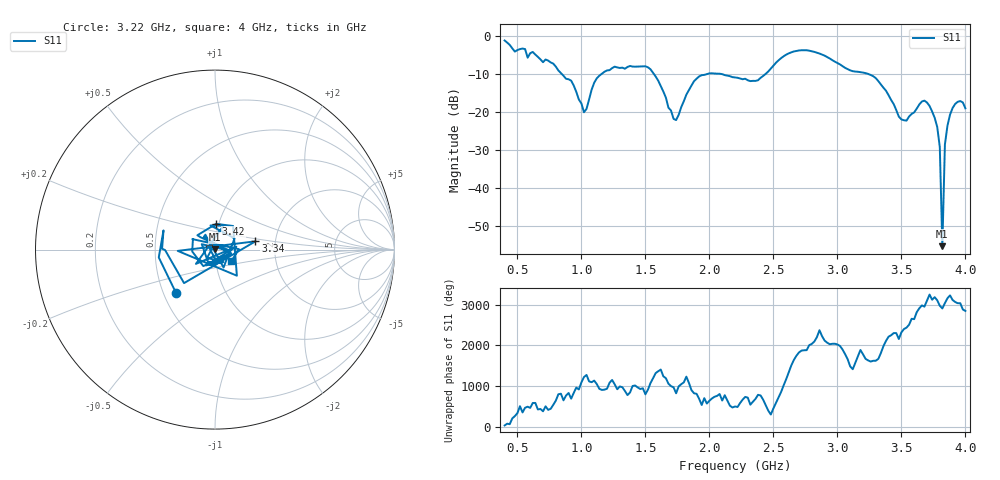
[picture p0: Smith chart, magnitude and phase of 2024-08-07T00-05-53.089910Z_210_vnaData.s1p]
!Created with skrf (http://scikit-rf.org).
# Hz S RI R 50.0
!freq ReS11 ImS11
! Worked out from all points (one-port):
!   181 points, 400 MHz to 4 GHz, reference 50 ohm
!   lowest |S11| = -55.3 dB at 3.82 GHz (marker M1), VSWR 1.00, Z = 50.2 + j0.0761 ohm
!   |S11| at or under -10 dB: 1.566 GHz to 1.987 GHz (420.7 MHz wide, 23.7 % of centre); 2.09 GHz to 2.439 GHz (349.6 MHz wide, 15.4 % of centre); 3.24 GHz to end of sweep (the widest 3 of 4)
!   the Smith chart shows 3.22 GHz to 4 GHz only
!   S11 on the Smith chart (normalised r, x): 3.22 GHz: 0.58, -0.31; 3.34 GHz: 1.57, +0.15; 3.42 GHz: 0.97, +0.28; 4 GHz: 1.19, -0.16
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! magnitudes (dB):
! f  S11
! 400 MHz  -1.2
! 860 MHz  -10.5
! 920 MHz  -11.8
! 1.02 GHz  -20.1
! 1.12 GHz  -11.2
! 1.3 GHz  -8.4
! 1.54 GHz  -8.8
! 1.72 GHz  -21.8
! 1.76 GHz  -20.8
! 1.92 GHz  -10.7
! 2.2 GHz  -10.9
! 2.38 GHz  -11.7
! 2.66 GHz  -4.1
! 2.86 GHz  -4.6
! 3.1 GHz  -9.1
! 3.22 GHz  -9.8
! 3.34 GHz  -12.8
! 3.42 GHz  -16.9
! 3.5 GHz  -22.0
! 3.56 GHz  -21.2
! 3.68 GHz  -17.0
! 3.78 GHz  -24.0
! 3.8 GHz  -29.2
! 3.82 GHz  -55.3
! 3.84 GHz  -28.5
! 3.86 GHz  -23.6
! 3.92 GHz  -17.9
! 4 GHz  -19.1
